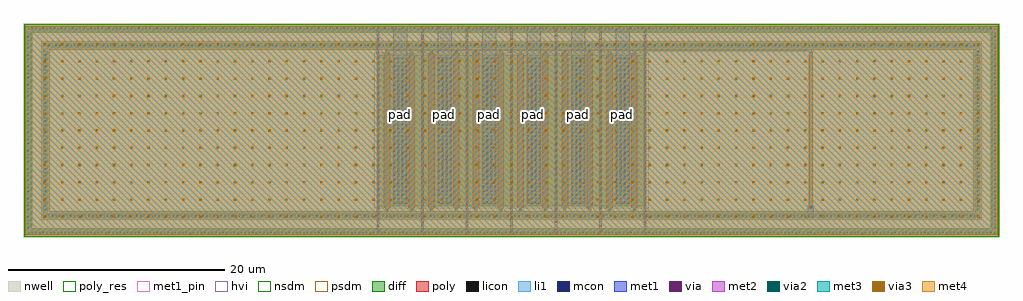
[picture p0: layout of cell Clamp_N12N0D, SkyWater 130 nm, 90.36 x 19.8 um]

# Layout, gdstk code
import gdstk
lib = gdstk.Library(unit=1e-6, precision=1e-09)
def R(c, l, rs):  # rectangles x0, y0, x1, y1
    for r in rs: c.add(gdstk.rectangle(r[:2], r[2:], *l))
def A(c, l, x, y, w, h, nx, ny, dx, dy):  # array of equal rectangles
    R(c, l, [(x+i*dx, y+j*dy, x+i*dx+w, y+j*dy+h) for i in range(nx) for j in range(ny)])
def P(c, l, *ps):  # polygons
    for p in ps: c.add(gdstk.Polygon(p, *l))
nwell = (64, 20)
diff = (65, 20)
poly_res = (66, 13)
poly = (66, 20)
licon = (66, 44)
li1 = (67, 20)
mcon = (67, 44)
met1_pin = (68, 16)
met1 = (68, 20)
via = (68, 44)
met2 = (69, 20)
via2 = (69, 44)
met3 = (70, 20)
via3 = (70, 44)
met4 = (71, 20)
hvi = (75, 20)
nsdm = (93, 44)
psdm = (94, 20)

guardring_n18000w3888hff = lib.new_cell('GuardRing_N18000W3888HFF')
P(guardring_n18000w3888hff, nwell, [(-45.18,-9.9),(-45.18,9.06),(-44.34,9.06),(-44.34,-9.06),(44.34,-9.06),(44.34,9.06),(-45.18,9.06),(-45.18,9.9),(45.18,9.9),(45.18,-9.9)])
P(guardring_n18000w3888hff, diff, [(-45,-9.72),(-45,9.24),(-44.52,9.24),(-44.52,-9.24),(44.52,-9.24),(44.52,9.24),(-45,9.24),(-45,9.72),(45,9.72),(45,-9.72)])
A(guardring_n18000w3888hff, licon, -44.795, -9.565, 0.17, 0.17, 264, 2, 0.34, 18.96)
A(guardring_n18000w3888hff, licon, -44.845, -9.095, 0.17, 0.17, 1, 54, 0, 0.34)
A(guardring_n18000w3888hff, licon, 44.675, -9.095, 0.17, 0.17, 1, 54, 0, 0.34)
P(guardring_n18000w3888hff, li1, [(-45,-9.72),(-45,9.24),(-44.52,9.24),(-44.52,-9.24),(44.52,-9.24),(44.52,9.24),(-45,9.24),(-45,9.72),(45,9.72),(45,-9.72)])
P(guardring_n18000w3888hff, nsdm, [(-45.125,-9.845),(-45.125,9.115),(-44.395,9.115),(-44.395,-9.115),(44.395,-9.115),(44.395,9.115),(-45.125,9.115),(-45.125,9.845),(45.125,9.845),(45.125,-9.845)])

guardring_p17368w3256hft = lib.new_cell('GuardRing_P17368W3256HFT')
P(guardring_p17368w3256hft, diff, [(-43.42,-8.14),(-43.42,7.66),(-42.94,7.66),(-42.94,-7.66),(42.94,-7.66),(42.94,7.66),(-43.42,7.66),(-43.42,8.14),(43.42,8.14),(43.42,-8.14)])
A(guardring_p17368w3256hft, licon, -43.265, -7.985, 0.17, 0.17, 255, 2, 0.34, 15.8)
A(guardring_p17368w3256hft, licon, -43.265, -7.395, 0.17, 0.17, 1, 44, 0, 0.34)
A(guardring_p17368w3256hft, licon, 43.095, -7.395, 0.17, 0.17, 1, 44, 0, 0.34)
P(guardring_p17368w3256hft, li1, [(-43.42,-8.14),(-43.42,7.66),(-42.94,7.66),(-42.94,-7.66),(42.94,-7.66),(42.94,7.66),(-43.42,7.66),(-43.42,8.14),(43.42,8.14),(43.42,-8.14)])
R(guardring_p17368w3256hft, nsdm, [(-42.815,-7.535,42.815,7.535)])
P(guardring_p17368w3256hft, psdm, [(-43.545,-8.265),(-43.545,7.535),(-42.815,7.535),(-42.815,-7.535),(42.815,-7.535),(42.815,7.535),(-43.545,7.535),(-43.545,8.265),(43.545,8.265),(43.545,-8.265)])

iotracksegment_3888h = lib.new_cell('IOTrackSegment_3888H')
R(iotracksegment_3888h, met2, [(-45,-9.72,45,9.72)])
A(iotracksegment_3888h, via2, -43.3, -8.1, 0.2, 0.2, 55, 11, 1.6, 1.6)
R(iotracksegment_3888h, met3, [(-45,-9.72,45,9.72)])
A(iotracksegment_3888h, via3, -43.3, -8.1, 0.2, 0.2, 55, 11, 1.6, 1.6)
R(iotracksegment_3888h, met4, [(-45,-9.72,45,9.72)])

clamp_n12n0d = lib.new_cell('Clamp_N12N0D')
R(clamp_n12n0d, diff, [(32.515,2.72,57.485,16.72)])
R(clamp_n12n0d, poly_res, [(72.54,2.72,72.88,16.72)])
R(clamp_n12n0d, poly, [(72.545,2.425,72.875,17.015)])
P(clamp_n12n0d, poly, [(33.33,2.23),(33.33,2.56),(33.165,2.56),(33.165,16.88),(33.33,16.88),(33.33,17.21),(33.6,17.21),(33.6,16.88),(33.765,16.88),(33.765,2.56),(33.6,2.56),(33.6,2.23)],
  [(35.63,2.23),(35.63,2.56),(35.465,2.56),(35.465,16.88),(35.63,16.88),(35.63,17.21),(35.9,17.21),(35.9,16.88),(36.065,16.88),(36.065,2.56),(35.9,2.56),(35.9,2.23)],
  [(37.45,2.23),(37.45,2.56),(37.285,2.56),(37.285,16.88),(37.45,16.88),(37.45,17.21),(37.72,17.21),(37.72,16.88),(37.885,16.88),(37.885,2.56),(37.72,2.56),(37.72,2.23)],
  [(39.75,2.23),(39.75,2.56),(39.585,2.56),(39.585,16.88),(39.75,16.88),(39.75,17.21),(40.02,17.21),(40.02,16.88),(40.185,16.88),(40.185,2.56),(40.02,2.56),(40.02,2.23)],
  [(41.57,2.23),(41.57,2.56),(41.405,2.56),(41.405,16.88),(41.57,16.88),(41.57,17.21),(41.84,17.21),(41.84,16.88),(42.005,16.88),(42.005,2.56),(41.84,2.56),(41.84,2.23)],
  [(43.87,2.23),(43.87,2.56),(43.705,2.56),(43.705,16.88),(43.87,16.88),(43.87,17.21),(44.14,17.21),(44.14,16.88),(44.305,16.88),(44.305,2.56),(44.14,2.56),(44.14,2.23)],
  [(45.69,2.23),(45.69,2.56),(45.525,2.56),(45.525,16.88),(45.69,16.88),(45.69,17.21),(45.96,17.21),(45.96,16.88),(46.125,16.88),(46.125,2.56),(45.96,2.56),(45.96,2.23)],
  [(47.99,2.23),(47.99,2.56),(47.825,2.56),(47.825,16.88),(47.99,16.88),(47.99,17.21),(48.26,17.21),(48.26,16.88),(48.425,16.88),(48.425,2.56),(48.26,2.56),(48.26,2.23)],
  [(49.81,2.23),(49.81,2.56),(49.645,2.56),(49.645,16.88),(49.81,16.88),(49.81,17.21),(50.08,17.21),(50.08,16.88),(50.245,16.88),(50.245,2.56),(50.08,2.56),(50.08,2.23)],
  [(52.11,2.23),(52.11,2.56),(51.945,2.56),(51.945,16.88),(52.11,16.88),(52.11,17.21),(52.38,17.21),(52.38,16.88),(52.545,16.88),(52.545,2.56),(52.38,2.56),(52.38,2.23)],
  [(53.93,2.23),(53.93,2.56),(53.765,2.56),(53.765,16.88),(53.93,16.88),(53.93,17.21),(54.2,17.21),(54.2,16.88),(54.365,16.88),(54.365,2.56),(54.2,2.56),(54.2,2.23)],
  [(56.23,2.23),(56.23,2.56),(56.065,2.56),(56.065,16.88),(56.23,16.88),(56.23,17.21),(56.5,17.21),(56.5,16.88),(56.665,16.88),(56.665,2.56),(56.5,2.56),(56.5,2.23)])
A(clamp_n12n0d, licon, 32.555, 3.005, 0.17, 0.17, 1, 40, 0, 0.34)
A(clamp_n12n0d, licon, 34.445, 3.005, 0.17, 0.17, 1, 40, 0, 0.34)
A(clamp_n12n0d, licon, 34.785, 3.005, 0.17, 0.17, 3, 40, 1.89, 0.34)
A(clamp_n12n0d, licon, 38.905, 3.005, 0.17, 0.17, 3, 40, 1.89, 0.34)
A(clamp_n12n0d, licon, 43.025, 3.005, 0.17, 0.17, 3, 40, 1.89, 0.34)
A(clamp_n12n0d, licon, 47.145, 3.005, 0.17, 0.17, 3, 40, 1.89, 0.34)
A(clamp_n12n0d, licon, 51.265, 3.005, 0.17, 0.17, 3, 40, 1.89, 0.34)
A(clamp_n12n0d, licon, 55.385, 3.005, 0.17, 0.17, 1, 40, 0, 0.34)
A(clamp_n12n0d, licon, 57.275, 3.005, 0.17, 0.17, 1, 40, 0, 0.34)
R(clamp_n12n0d, licon, [(33.38,2.31,33.55,2.48), (35.68,2.31,35.85,2.48), (37.5,2.31,37.67,2.48), (39.8,2.31,39.97,2.48), (41.62,2.31,41.79,2.48), (43.92,2.31,44.09,2.48), (45.74,2.31,45.91,2.48), (48.04,2.31,48.21,2.48), (49.86,2.31,50.03,2.48), (52.16,2.31,52.33,2.48), (53.98,2.31,54.15,2.48), (56.28,2.31,56.45,2.48), (72.625,2.505,72.795,2.675), (72.625,16.765,72.795,16.935), (33.38,16.96,33.55,17.13), (35.68,16.96,35.85,17.13), (37.5,16.96,37.67,17.13), (39.8,16.96,39.97,17.13), (41.62,16.96,41.79,17.13), (43.92,16.96,44.09,17.13), (45.74,16.96,45.91,17.13), (48.04,16.96,48.21,17.13), (49.86,16.96,50.03,17.13), (52.16,16.96,52.33,17.13), (53.98,16.96,54.15,17.13), (56.28,16.96,56.45,17.13)])
A(clamp_n12n0d, li1, 32.555, 1.735, 0.17, 0.17, 7, 2, 4.12, 15.8)
A(clamp_n12n0d, li1, 32.555, 2.925, 0.17, 13.59, 7, 1, 4.12, 0)
R(clamp_n12n0d, li1, [(72.445,1.735,72.975,1.905)])
P(clamp_n12n0d, li1, [(72.625,2.425),(72.625,2.505),(72.445,2.505),(72.445,2.675),(72.625,2.675),(72.625,2.755),(72.795,2.755),(72.795,2.675),(72.975,2.675),(72.975,2.505),(72.795,2.505),(72.795,2.425)],
  [(34.445,2.925),(34.445,2.975),(34.075,2.975),(34.075,16.465),(34.445,16.465),(34.445,16.515),(34.955,16.515),(34.955,16.465),(35.325,16.465),(35.325,2.975),(34.955,2.975),(34.955,2.925)],
  [(38.565,2.925),(38.565,2.975),(38.195,2.975),(38.195,16.465),(38.565,16.465),(38.565,16.515),(39.075,16.515),(39.075,16.465),(39.445,16.465),(39.445,2.975),(39.075,2.975),(39.075,2.925)],
  [(42.685,2.925),(42.685,2.975),(42.315,2.975),(42.315,16.465),(42.685,16.465),(42.685,16.515),(43.195,16.515),(43.195,16.465),(43.565,16.465),(43.565,2.975),(43.195,2.975),(43.195,2.925)],
  [(46.805,2.925),(46.805,2.975),(46.435,2.975),(46.435,16.465),(46.805,16.465),(46.805,16.515),(47.315,16.515),(47.315,16.465),(47.685,16.465),(47.685,2.975),(47.315,2.975),(47.315,2.925)],
  [(50.925,2.925),(50.925,2.975),(50.555,2.975),(50.555,16.465),(50.925,16.465),(50.925,16.515),(51.435,16.515),(51.435,16.465),(51.805,16.465),(51.805,2.975),(51.435,2.975),(51.435,2.925)],
  [(55.045,2.925),(55.045,2.975),(54.675,2.975),(54.675,16.465),(55.045,16.465),(55.045,16.515),(55.555,16.515),(55.555,16.465),(55.925,16.465),(55.925,2.975),(55.555,2.975),(55.555,2.925)],
  [(33.38,2.23),(33.38,17.21),(72.795,17.21),(72.795,16.685),(72.625,16.685),(72.625,17.04),(56.45,17.04),(56.45,2.23),(56.28,2.23),(56.28,17.04),(54.15,17.04),(54.15,2.23),(53.98,2.23),(53.98,17.04),(52.33,17.04),(52.33,2.23),(52.16,2.23),(52.16,17.04),(50.03,17.04),(50.03,2.23),(49.86,2.23),(49.86,17.04),(48.21,17.04),(48.21,2.23),(48.04,2.23),(48.04,17.04),(45.91,17.04),(45.91,2.23),(45.74,2.23),(45.74,17.04),(44.09,17.04),(44.09,2.23),(43.92,2.23),(43.92,17.04),(41.79,17.04),(41.79,2.23),(41.62,2.23),(41.62,17.04),(39.97,17.04),(39.97,2.23),(39.8,2.23),(39.8,17.04),(37.67,17.04),(37.67,2.23),(37.5,2.23),(37.5,17.04),(35.85,17.04),(35.85,2.23),(35.68,2.23),(35.68,17.04),(33.55,17.04),(33.55,2.23)])
A(clamp_n12n0d, mcon, 32.555, 1.735, 0.17, 0.17, 7, 2, 4.12, 15.8)
A(clamp_n12n0d, mcon, 32.555, 2.975, 0.17, 0.17, 1, 38, 0, 0.36)
A(clamp_n12n0d, mcon, 34.075, 2.975, 0.17, 0.17, 4, 38, 0.36, 0.36)
A(clamp_n12n0d, mcon, 36.675, 2.975, 0.17, 0.17, 1, 38, 0, 0.36)
A(clamp_n12n0d, mcon, 38.195, 2.975, 0.17, 0.17, 4, 38, 0.36, 0.36)
A(clamp_n12n0d, mcon, 40.795, 2.975, 0.17, 0.17, 1, 38, 0, 0.36)
A(clamp_n12n0d, mcon, 42.315, 2.975, 0.17, 0.17, 4, 38, 0.36, 0.36)
A(clamp_n12n0d, mcon, 44.915, 2.975, 0.17, 0.17, 1, 38, 0, 0.36)
A(clamp_n12n0d, mcon, 46.435, 2.975, 0.17, 0.17, 4, 38, 0.36, 0.36)
A(clamp_n12n0d, mcon, 49.035, 2.975, 0.17, 0.17, 1, 38, 0, 0.36)
A(clamp_n12n0d, mcon, 50.555, 2.975, 0.17, 0.17, 4, 38, 0.36, 0.36)
A(clamp_n12n0d, mcon, 53.155, 2.975, 0.17, 0.17, 1, 38, 0, 0.36)
A(clamp_n12n0d, mcon, 54.675, 2.975, 0.17, 0.17, 4, 38, 0.36, 0.36)
A(clamp_n12n0d, mcon, 57.275, 2.975, 0.17, 0.17, 1, 38, 0, 0.36)
R(clamp_n12n0d, mcon, [(72.445,1.735,72.615,1.905), (72.805,1.735,72.975,1.905), (72.445,2.505,72.615,2.675), (72.805,2.505,72.975,2.675)])
A(clamp_n12n0d, met1_pin, 34.045, 2.915, 1.31, 16.525, 6, 1, 4.12, 0)
A(clamp_n12n0d, met1, 34.045, 2.915, 1.31, 16.525, 6, 1, 4.12, 0)
R(clamp_n12n0d, met1, [(72.415,1.675,73.005,2.735)])
P(clamp_n12n0d, met1, [(32.525,0),(32.525,0.12),(32.51,0.12),(32.51,19.32),(32.525,19.32),(32.525,19.44),(32.755,19.44),(32.755,19.32),(32.77,19.32),(32.77,0.12),(32.755,0.12),(32.755,0)],
  [(36.645,0),(36.645,0.12),(36.63,0.12),(36.63,19.32),(36.645,19.32),(36.645,19.44),(36.875,19.44),(36.875,19.32),(36.89,19.32),(36.89,0.12),(36.875,0.12),(36.875,0)],
  [(40.765,0),(40.765,0.12),(40.75,0.12),(40.75,19.32),(40.765,19.32),(40.765,19.44),(40.995,19.44),(40.995,19.32),(41.01,19.32),(41.01,0.12),(40.995,0.12),(40.995,0)],
  [(44.885,0),(44.885,0.12),(44.87,0.12),(44.87,19.32),(44.885,19.32),(44.885,19.44),(45.115,19.44),(45.115,19.32),(45.13,19.32),(45.13,0.12),(45.115,0.12),(45.115,0)],
  [(49.005,0),(49.005,0.12),(48.99,0.12),(48.99,19.32),(49.005,19.32),(49.005,19.44),(49.235,19.44),(49.235,19.32),(49.25,19.32),(49.25,0.12),(49.235,0.12),(49.235,0)],
  [(53.125,0),(53.125,0.12),(53.11,0.12),(53.11,19.32),(53.125,19.32),(53.125,19.44),(53.355,19.44),(53.355,19.32),(53.37,19.32),(53.37,0.12),(53.355,0.12),(53.355,0)],
  [(57.245,0),(57.245,0.12),(57.23,0.12),(57.23,19.32),(57.245,19.32),(57.245,19.44),(57.475,19.44),(57.475,19.32),(57.49,19.32),(57.49,0.12),(57.475,0.12),(57.475,0)])
A(clamp_n12n0d, via, 32.565, 0.205, 0.15, 0.15, 7, 60, 4.12, 0.32)
A(clamp_n12n0d, met2, 32.51, 0.12, 0.26, 19.2, 7, 1, 4.12, 0)
R(clamp_n12n0d, hvi, [(32.315,2.52,57.685,16.92)])
R(clamp_n12n0d, nsdm, [(32.39,2.595,57.61,16.845)])
clamp_n12n0d.add(gdstk.Reference(guardring_n18000w3888hff, (45,9.72)))
clamp_n12n0d.add(gdstk.Reference(guardring_p17368w3256hft, (45,9.72)))
clamp_n12n0d.add(gdstk.Reference(iotracksegment_3888h, (45,9.72)))
clamp_n12n0d.add(gdstk.Reference(guardring_n18000w3888hff, (45,9.72)))
clamp_n12n0d.add(gdstk.Reference(guardring_p17368w3256hft, (45,9.72)))
clamp_n12n0d.add(gdstk.Reference(iotracksegment_3888h, (45,9.72)))
clamp_n12n0d.add(gdstk.Label('pad', (47.06,11.178), layer=68, texttype=16))
clamp_n12n0d.add(gdstk.Label('pad', (51.18,11.178), layer=68, texttype=16))
clamp_n12n0d.add(gdstk.Label('pad', (42.94,11.178), layer=68, texttype=16))
clamp_n12n0d.add(gdstk.Label('pad', (55.3,11.178), layer=68, texttype=16))
clamp_n12n0d.add(gdstk.Label('pad', (38.82,11.178), layer=68, texttype=16))
clamp_n12n0d.add(gdstk.Label('pad', (34.7,11.178), layer=68, texttype=16))
clamp_n12n0d.add(gdstk.Label('pad', (47.06,11.178), layer=68, texttype=16))
clamp_n12n0d.add(gdstk.Label('pad', (51.18,11.178), layer=68, texttype=16))
clamp_n12n0d.add(gdstk.Label('pad', (42.94,11.178), layer=68, texttype=16))
clamp_n12n0d.add(gdstk.Label('pad', (55.3,11.178), layer=68, texttype=16))
clamp_n12n0d.add(gdstk.Label('pad', (38.82,11.178), layer=68, texttype=16))
clamp_n12n0d.add(gdstk.Label('pad', (34.7,11.178), layer=68, texttype=16))

lib.write_gds('Clamp_N12N0D.gds')
